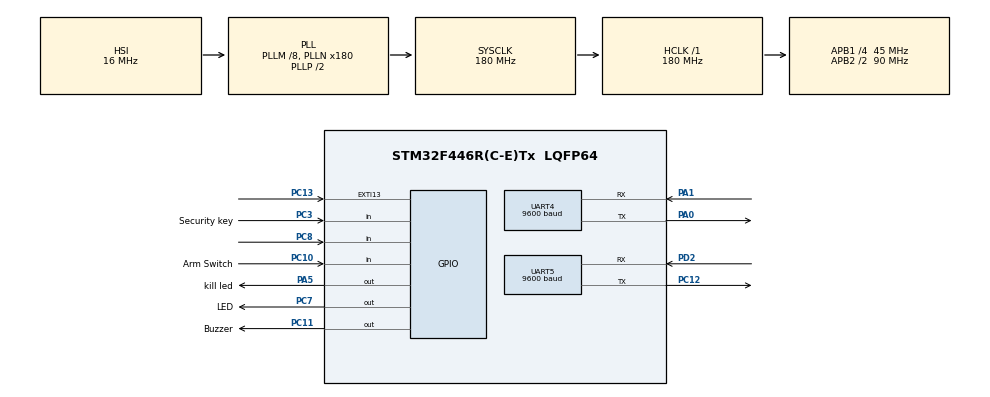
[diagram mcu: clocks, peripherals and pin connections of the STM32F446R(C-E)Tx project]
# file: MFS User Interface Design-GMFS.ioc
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Dma.Request0=UART5_RX
Dma.UART5_RX.0.Direction=DMA_PERIPH_TO_MEMORY
Dma.UART5_RX.0.FIFOMode=DMA_FIFOMODE_DISABLE
Dma.UART5_RX.0.Instance=DMA1_Stream0
Dma.UART5_RX.0.MemDataAlignment=DMA_MDATAALIGN_BYTE
Dma.UART5_RX.0.MemInc=DMA_MINC_ENABLE
Dma.UART5_RX.0.Mode=DMA_CIRCULAR
Dma.UART5_RX.0.PeriphDataAlignment=DMA_PDATAALIGN_BYTE
Dma.UART5_RX.0.PeriphInc=DMA_PINC_DISABLE
Dma.UART5_RX.0.Priority=DMA_PRIORITY_LOW
Mcu.Family=STM32F4
Mcu.Name=STM32F446R(C-E)Tx
Mcu.Package=LQFP64
NVIC.DMA1_Stream0_IRQn=true\:0\:0\:false\:false\:true\:false\:true\:true
NVIC.EXTI15_10_IRQn=true\:0\:0\:false\:false\:true\:true\:true\:true
NVIC.PriorityGroup=NVIC_PRIORITYGROUP_4
PA0-WKUP.Mode=Asynchronous
PA0-WKUP.Signal=UART4_TX
PA1.Mode=Asynchronous
PA1.Signal=UART4_RX
PA13.Mode=Serial_Wire
PA13.Signal=SYS_JTMS-SWDIO
PA14.Mode=Serial_Wire
PA14.Signal=SYS_JTCK-SWCLK
PA5.GPIO_Label=kill led
PA5.GPIO_PuPd=GPIO_PULLDOWN
PA5.Signal=GPIO_Output
PC10.GPIO_Label=Arm Switch
PC10.GPIO_PuPd=GPIO_PULLDOWN
PC10.Signal=GPIO_Input
PC11.GPIO_Label=Buzzer
PC11.GPIO_ModeDefaultOutputPP=GPIO_MODE_OUTPUT_PP
PC11.GPIO_PuPd=GPIO_PULLDOWN
PC11.Signal=GPIO_Output
PC12.Mode=Asynchronous
PC12.Signal=UART5_TX
PC13.GPIO_PuPd=GPIO_PULLDOWN
PC13.Signal=GPXTI13
PC3.GPIO_Label=Security key
PC3.GPIO_PuPd=GPIO_PULLDOWN
PC3.Signal=GPIO_Input
PC7.GPIO_Label=LED
PC7.GPIO_ModeDefaultOutputPP=GPIO_MODE_OUTPUT_PP
PC7.GPIO_PuPd=GPIO_PULLUP
PC7.GPIO_Speed=GPIO_SPEED_FREQ_LOW
PC7.PinState=GPIO_PIN_SET
PC7.Signal=GPIO_Output
PC8.GPIO_PuPd=GPIO_PULLDOWN
PC8.Signal=GPIO_Input
PD2.Mode=Asynchronous
PD2.Signal=UART5_RX
PH0-OSC_IN.Mode=HSE-External-Oscillator
PH0-OSC_IN.Signal=RCC_OSC_IN
PH1-OSC_OUT.Mode=HSE-External-Oscillator
PH1-OSC_OUT.Signal=RCC_OSC_OUT
ProjectManager.HeapSize=0x200
ProjectManager.StackSize=0x400
ProjectManager.TargetToolchain=STM32CubeIDE
RCC.AHBFreq_Value=180000000
RCC.APB1CLKDivider=RCC_HCLK_DIV4
RCC.APB1Freq_Value=45000000
RCC.APB1TimFreq_Value=90000000
RCC.APB2CLKDivider=RCC_HCLK_DIV2
RCC.APB2Freq_Value=90000000
RCC.APB2TimFreq_Value=180000000
RCC.CortexFreq_Value=180000000
RCC.HCLKFreq_Value=180000000
RCC.PLLM=8
RCC.PLLN=180
RCC.SYSCLKFreq_VALUE=180000000
RCC.SYSCLKSource=RCC_SYSCLKSOURCE_PLLCLK
RCC.USBFreq_Value=180000000
RCC.VCOOutputFreq_Value=360000000
UART4.BaudRate=9600
UART4.VirtualMode=Asynchronous
UART5.BaudRate=9600
UART5.VirtualMode=Asynchronous
board=custom

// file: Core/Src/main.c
/* USER CODE BEGIN Header */
/**
 ******************************************************************************
 * @file           : main.c
 * @brief          : Main program body
 ******************************************************************************
 * @attention
 *
 * Copyright (c) 2023 STMicroelectronics.
 * All rights reserved.
 *
 * This software is licensed under terms that can be found in the LICENSE file
 * in the root directory of this software component.
 * If no LICENSE file comes with this software, it is provided AS-IS.
 *
 ******************************************************************************
 */
/* USER CODE END Header */
#include "main.h"

/* USER CODE BEGIN Includes */
#include<stdbool.h>
#include<stdlib.h>
#include<string.h>
#include<stdio.h>
/* USER CODE END Includes */

UART_HandleTypeDef huart4;
UART_HandleTypeDef huart5;
DMA_HandleTypeDef hdma_uart5_rx;

/* USER CODE BEGIN PV */
bool tx_key_flag=1;
bool tx_arm_flag=1;
bool tx_launch_flag=1;
bool tx_ignition_flag=1;
bool tx_error_flag=1;
bool tx_init_flag=1;
bool tx_kill_flag=1;
/* USER CODE END PV */

void SystemClock_Config(void);
static void MX_GPIO_Init(void);
static void MX_DMA_Init(void);
static void MX_UART5_Init(void);
static void MX_UART4_Init(void);

/* USER CODE BEGIN 0 */
char tx_data[2];
char rx_data[2];
char rx_arduino[2];
bool Sec_key = 0, Arm_switch = 0, Ign_switch = 0;
bool seq_flag = 0;
bool ignition = 0;
//ACK Sequence
//char key[2]='FF';
//char arm[2]='BB';
//char isu_check[2]='DD';
//char kill[2]='KK';
//char ignition_switch[2]='II;
//char launch[2]='LL';
void seq_check()
	{
		if(HAL_GPIO_ReadPin(GPIOC, GPIO_PIN_3) == 0 && HAL_GPIO_ReadPin(GPIOC, GPIO_PIN_10)== 0 && HAL_GPIO_ReadPin(GPIOC, GPIO_PIN_8) == 0)
			{seq_flag = 1;
			tx_key_flag=1;
			tx_arm_flag=1;
			tx_launch_flag=1;
			tx_ignition_flag=1;
			tx_init_flag=1;
			tx_error_flag=1;
			tx_kill_flag=1;
			}
		else if(Sec_key==0 && HAL_GPIO_ReadPin(GPIOC, GPIO_PIN_10) == 1) seq_flag=0;
	}
void error()
{
	memset(tx_data,'F',2);
	HAL_UART_Transmit(&huart5, tx_data, strlen(tx_data),100);
	if(tx_error_flag==1){
	HAL_Delay(3000);
	HAL_UART_Transmit(&huart4, rx_data, strlen(rx_data),100);
	memset(rx_data,'\0',2);
	tx_error_flag=0;
	}
}
/* USER CODE END 0 */

int main(void)
{

  /* MCU Configuration--------------------------------------------------------*/

  /* Reset of all peripherals, Initializes the Flash interface and the Systick. */
  HAL_Init();

  /* Configure the system clock */
  SystemClock_Config();

  /* Initialize all configured peripherals */
  MX_GPIO_Init();
  MX_DMA_Init();
  MX_UART5_Init();
  MX_UART4_Init();
  /* USER CODE BEGIN 2 */
HAL_UART_Receive_DMA(&huart5, rx_data, sizeof(rx_data));
  /* USER CODE END 2 */

  /* Infinite loop */
  /* USER CODE BEGIN WHILE */
	while (1)
	{
		seq_check();
		if(seq_flag ==1){
			if(HAL_GPIO_ReadPin(GPIOC, GPIO_PIN_3) == 0 || Sec_key == 0)
			{
			memset(tx_data,'N',2); //Initialisation
			    HAL_UART_Transmit(&huart5, tx_data, strlen(tx_data),100);
			    if(tx_init_flag==1){
				HAL_Delay(3000);
				HAL_UART_Transmit(&huart4, rx_data, strlen(rx_data),100);
				memset(rx_data,'\0',2);
				tx_init_flag=0;
			}
			}
			if(HAL_GPIO_ReadPin(GPIOC, GPIO_PIN_3) == 1 || Sec_key == 1)
			{
				Sec_key=1;
				if(Arm_switch==0){
				memset(tx_data,'K',2); //Security Key ACK
				HAL_UART_Transmit(&huart5, tx_data, strlen(tx_data),100);
				if(tx_key_flag==1){
				HAL_Delay(3000);
				HAL_UART_Transmit(&huart4, rx_data, strlen(rx_data),100);
				memset(rx_data,'\0',2);
				tx_key_flag=0;
				}
				}
			}
				if(HAL_GPIO_ReadPin(GPIOC, GPIO_PIN_3) == 0 && Arm_switch == 0){
					Sec_key = 0; // Notify the user to reset the inputs
					seq_flag = 0;
					Arm_switch = 0;
					Ign_switch = 0;
				}
				if(HAL_GPIO_ReadPin(GPIOC, GPIO_PIN_10)== 1 || Arm_switch == 1){
						Arm_switch = 1;
						if(Ign_switch==0){
						memset(tx_data,'A',2); //Arm Switch ACK
						HAL_UART_Transmit(&huart5, tx_data, strlen(tx_data),100);
						if(tx_arm_flag==1){
						HAL_Delay(3000);
						HAL_UART_Transmit(&huart4, rx_data, strlen(rx_data),100);
						memset(rx_data,'\0',2);
						tx_arm_flag=0;
						}
						}
				}
						if(HAL_GPIO_ReadPin(GPIOC, GPIO_PIN_10) == 0){
							Arm_switch = 0;
						}
						if(HAL_GPIO_ReadPin(GPIOC, GPIO_PIN_8) == 1 || Ign_switch == 1 ){
//							HAL_Delay(5000);
							if(HAL_GPIO_ReadPin(GPIOC, GPIO_PIN_8) == 1) {
								memset(tx_data,'\0',2);
								Ign_switch = 1;
								memset(tx_data,'I',2);

								HAL_UART_Transmit(&huart5, tx_data, strlen(tx_data),100);
								if(tx_ignition_flag==1){
								HAL_Delay(3000);
								HAL_UART_Transmit(&huart4, rx_data, strlen(rx_data),100);
								memset(rx_data,'\0',2);
								tx_ignition_flag=0;
//								HAL_Delay(100);
								}
								if(rx_data[0]=='L')
								{
								memset(tx_data,'L',2); //Launching ACK
								HAL_UART_Transmit(&huart5, tx_data, strlen(tx_data),100);
								if(tx_launch_flag==1){
								HAL_Delay(3000);
								HAL_UART_Transmit(&huart4, rx_data, strlen(rx_data),100);
								memset(rx_data,'\0',2);
								tx_launch_flag=0;
//								HAL_Delay(100);
								}
								}
								memset(tx_data,'\0',2);
								HAL_GPIO_WritePin(GPIOC, GPIO_PIN_11,1);
								HAL_GPIO_WritePin(GPIOC, GPIO_PIN_7,0);
							HAL_Delay(2000);
							HAL_GPIO_WritePin(GPIOC, GPIO_PIN_7,1);
							HAL_GPIO_WritePin(GPIOC, GPIO_PIN_11,0);
							}
							}
		}
							else
							{
								Sec_key = 0;
								Arm_switch = 0;
								Ign_switch = 0;
								seq_flag = 0;
								error();
							}
    /* USER CODE END WHILE */

	}
}

void SystemClock_Config(void)
{
  RCC_OscInitTypeDef RCC_OscInitStruct = {0};
  RCC_ClkInitTypeDef RCC_ClkInitStruct = {0};

  /** Configure the main internal regulator output voltage
  */
  __HAL_RCC_PWR_CLK_ENABLE();
  __HAL_PWR_VOLTAGESCALING_CONFIG(PWR_REGULATOR_VOLTAGE_SCALE1);

  /** Initializes the RCC Oscillators according to the specified parameters
  * in the RCC_OscInitTypeDef structure.
  */
  RCC_OscInitStruct.OscillatorType = RCC_OSCILLATORTYPE_HSI;
  RCC_OscInitStruct.HSIState = RCC_HSI_ON;
  RCC_OscInitStruct.HSICalibrationValue = RCC_HSICALIBRATION_DEFAULT;
  RCC_OscInitStruct.PLL.PLLState = RCC_PLL_ON;
  RCC_OscInitStruct.PLL.PLLSource = RCC_PLLSOURCE_HSI;
  RCC_OscInitStruct.PLL.PLLM = 8;
  RCC_OscInitStruct.PLL.PLLN = 180;
  RCC_OscInitStruct.PLL.PLLP = RCC_PLLP_DIV2;
  RCC_OscInitStruct.PLL.PLLQ = 2;
  RCC_OscInitStruct.PLL.PLLR = 2;
  if (HAL_RCC_OscConfig(&RCC_OscInitStruct) != HAL_OK)
  {
    Error_Handler();
  }

  /** Activate the Over-Drive mode
  */
  if (HAL_PWREx_EnableOverDrive() != HAL_OK)
  {
    Error_Handler();
  }

  /** Initializes the CPU, AHB and APB buses clocks
  */
  RCC_ClkInitStruct.ClockType = RCC_CLOCKTYPE_HCLK|RCC_CLOCKTYPE_SYSCLK
                              |RCC_CLOCKTYPE_PCLK1|RCC_CLOCKTYPE_PCLK2;
  RCC_ClkInitStruct.SYSCLKSource = RCC_SYSCLKSOURCE_PLLCLK;
  RCC_ClkInitStruct.AHBCLKDivider = RCC_SYSCLK_DIV1;
  RCC_ClkInitStruct.APB1CLKDivider = RCC_HCLK_DIV4;
  RCC_ClkInitStruct.APB2CLKDivider = RCC_HCLK_DIV2;

  if (HAL_RCC_ClockConfig(&RCC_ClkInitStruct, FLASH_LATENCY_5) != HAL_OK)
  {
    Error_Handler();
  }
}

static void MX_UART4_Init(void)
{

  huart4.Instance = UART4;
  huart4.Init.BaudRate = 9600;
  huart4.Init.WordLength = UART_WORDLENGTH_8B;
  huart4.Init.StopBits = UART_STOPBITS_1;
  huart4.Init.Parity = UART_PARITY_NONE;
  huart4.Init.Mode = UART_MODE_TX_RX;
  huart4.Init.HwFlowCtl = UART_HWCONTROL_NONE;
  huart4.Init.OverSampling = UART_OVERSAMPLING_16;
  if (HAL_UART_Init(&huart4) != HAL_OK)
  {
    Error_Handler();
  }

}

static void MX_UART5_Init(void)
{

  huart5.Instance = UART5;
  huart5.Init.BaudRate = 9600;
  huart5.Init.WordLength = UART_WORDLENGTH_8B;
  huart5.Init.StopBits = UART_STOPBITS_1;
  huart5.Init.Parity = UART_PARITY_NONE;
  huart5.Init.Mode = UART_MODE_TX_RX;
  huart5.Init.HwFlowCtl = UART_HWCONTROL_NONE;
  huart5.Init.OverSampling = UART_OVERSAMPLING_16;
  if (HAL_UART_Init(&huart5) != HAL_OK)
  {
    Error_Handler();
  }

}

static void MX_DMA_Init(void)
{

  /* DMA controller clock enable */
  __HAL_RCC_DMA1_CLK_ENABLE();

  /* DMA interrupt init */
  /* DMA1_Stream0_IRQn interrupt configuration */
  HAL_NVIC_SetPriority(DMA1_Stream0_IRQn, 0, 0);
  HAL_NVIC_EnableIRQ(DMA1_Stream0_IRQn);

}

static void MX_GPIO_Init(void)
{
  GPIO_InitTypeDef GPIO_InitStruct = {0};

  /* GPIO Ports Clock Enable */
  __HAL_RCC_GPIOC_CLK_ENABLE();
  __HAL_RCC_GPIOH_CLK_ENABLE();
  __HAL_RCC_GPIOA_CLK_ENABLE();
  __HAL_RCC_GPIOD_CLK_ENABLE();

  /*Configure GPIO pin Output Level */
  HAL_GPIO_WritePin(kill_led_GPIO_Port, kill_led_Pin, GPIO_PIN_RESET);

  /*Configure GPIO pin Output Level */
  HAL_GPIO_WritePin(LED_GPIO_Port, LED_Pin, GPIO_PIN_SET);

  /*Configure GPIO pin Output Level */
  HAL_GPIO_WritePin(Buzzer_GPIO_Port, Buzzer_Pin, GPIO_PIN_RESET);

  /*Configure GPIO pin : PC13 */
  GPIO_InitStruct.Pin = GPIO_PIN_13;
  GPIO_InitStruct.Mode = GPIO_MODE_IT_RISING;
  GPIO_InitStruct.Pull = GPIO_PULLDOWN;
  HAL_GPIO_Init(GPIOC, &GPIO_InitStruct);

  /*Configure GPIO pins : Security_key_Pin PC8 Arm_Switch_Pin */
  GPIO_InitStruct.Pin = Security_key_Pin|GPIO_PIN_8|Arm_Switch_Pin;
  GPIO_InitStruct.Mode = GPIO_MODE_INPUT;
  GPIO_InitStruct.Pull = GPIO_PULLDOWN;
  HAL_GPIO_Init(GPIOC, &GPIO_InitStruct);

  /*Configure GPIO pin : kill_led_Pin */
  GPIO_InitStruct.Pin = kill_led_Pin;
  GPIO_InitStruct.Mode = GPIO_MODE_OUTPUT_PP;
  GPIO_InitStruct.Pull = GPIO_PULLDOWN;
  GPIO_InitStruct.Speed = GPIO_SPEED_FREQ_LOW;
  HAL_GPIO_Init(kill_led_GPIO_Port, &GPIO_InitStruct);

  /*Configure GPIO pin : LED_Pin */
  GPIO_InitStruct.Pin = LED_Pin;
  GPIO_InitStruct.Mode = GPIO_MODE_OUTPUT_PP;
  GPIO_InitStruct.Pull = GPIO_PULLUP;
  GPIO_InitStruct.Speed = GPIO_SPEED_FREQ_LOW;
  HAL_GPIO_Init(LED_GPIO_Port, &GPIO_InitStruct);

  /*Configure GPIO pin : Buzzer_Pin */
  GPIO_InitStruct.Pin = Buzzer_Pin;
  GPIO_InitStruct.Mode = GPIO_MODE_OUTPUT_PP;
  GPIO_InitStruct.Pull = GPIO_PULLDOWN;
  GPIO_InitStruct.Speed = GPIO_SPEED_FREQ_LOW;
  HAL_GPIO_Init(Buzzer_GPIO_Port, &GPIO_InitStruct);

  /* EXTI interrupt init*/
  HAL_NVIC_SetPriority(EXTI15_10_IRQn, 0, 0);
  HAL_NVIC_EnableIRQ(EXTI15_10_IRQn);

}

/* USER CODE BEGIN 4 */
void HAL_GPIO_EXTI_Callback(uint16_t GPIO_Pin)
{
  if (HAL_GPIO_ReadPin(GPIOC, GPIO_PIN_13)==1)
  {
        memset(tx_data,'Y',2); //Kill_Switch
    	HAL_UART_Transmit(&huart5, tx_data, strlen(tx_data),100);
    	HAL_GPIO_WritePin(GPIOA, GPIO_PIN_5, 1);
    	if(tx_error_flag==1){
    	HAL_Delay(3000);
    	HAL_UART_Transmit(&huart4, rx_data, strlen(rx_data),100);
    	memset(rx_data,'\0',2);
    	tx_kill_flag=0;
    	}
  }
  HAL_Delay(500);
  HAL_GPIO_WritePin(GPIOA, GPIO_PIN_5, 0);
}

/* USER CODE END 4 */

void Error_Handler(void)
{
	__disable_irq();
	while (1)
	{
	}
}
